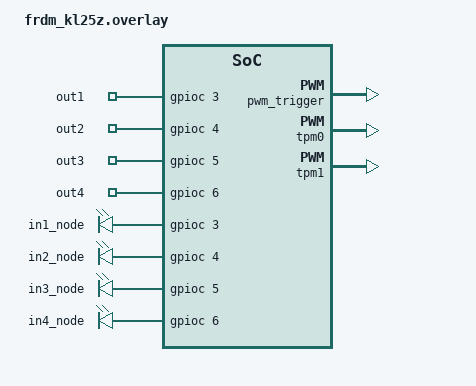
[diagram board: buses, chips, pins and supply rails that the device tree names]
#include <zephyr/dt-bindings/gpio/gpio.h>
#include <zephyr/dt-bindings/pwm/pwm.h>
#include <zephyr/dt-bindings/clock/kinetis_sim.h>
#include <nxp/kinetis/MKL25Z128VLK4-pinctrl.h>

/ {
    /* Aliases globais do projeto */
    aliases {
        pwm-trigger = &pwm_trigger;
        tpm1 = &tpm1;
        out1 = &out1;
        out2 = &out2;
        out3 = &out3;
        out4 = &out4;
    };


    pins_control {
        compatible = "gpio-keys ";

        out1: pin_out_1 {
            gpios = <&gpioc 3 GPIO_ACTIVE_HIGH>;
                status = "okay";
        
        };
        out2: pin_out_2 {
            gpios = <&gpioc 4 GPIO_ACTIVE_HIGH>;
            
        };
        out3: pin_out_3 {
            gpios = <&gpioc 5 GPIO_ACTIVE_HIGH>;
            
        };
        out4: pin_out_4 {
            gpios = <&gpioc 6 GPIO_ACTIVE_HIGH>;
                status = "okay";
            
        };

        
    };

    /* Dispositivo PWM Customizado */
    pwmtriggers {
        compatible = "simple-bus";

        pwm_trigger: pwm_trigger {
            compatible = "my,pwm-trigger";
            pwms = <&tpm0 0 PWM_MSEC(60) PWM_POLARITY_NORMAL>;
        };
    };
};

/* Habilita as portas GPIO que estão sendo utilizadas */
&gpioa { status = "okay"; };
&gpioc { status = "okay"; };
&gpioe { status = "okay"; };

/* Configuração de Pinctrl */
&pinctrl {
    tpm0_default: tpm0_default {
        group0 {
            pinmux = <TPM0_CH0_PTD0>;
            drive-strength = "low";
            slew-rate = "slow";
        };
    };

    tpm1_default: tpm1_default {
        group0 {
            pinmux = <TPM1_CH0_PTE20>;
            drive-strength = "low";
            slew-rate = "slow";
        };
    };
};

/* Configuração dos periféricos TPM (PWM) estendidos */
&tpm0 {
    compatible = "nxp,kinetis-tpm";
    reg = <0x40038000 0x1000>;
    interrupts = <17 0>;
    prescaler = <64>;
    clocks = <&sim KINETIS_SIM_BUS_CLK 0x103C 24>;
    pinctrl-0 = <&tpm0_default>;
    pinctrl-names = "default";
    #pwm-cells = <3>;
    status = "okay";
};

&tpm1 {
    compatible = "nxp,kinetis-tpm";
    reg = <0x40039000 0x1000>;
    interrupts = <18 1>;
    prescaler = <8>;
    clocks = <&sim KINETIS_SIM_BUS_CLK 0x103C 25>;
    pinctrl-0 = <&tpm1_default>;
    pinctrl-names = "default";
    #pwm-cells = <3>;
    status = "okay";
};
/*Portas da ponte H */
/* Ativa explicitamente o controlador do PORTC */
&gpioc {
    status = "okay";
};

/ {
    aliases {
        in1 = &in1_node;
        in2 = &in2_node;
        in3 = &in3_node;
        in4 = &in4_node;
    };

    ponte_h_pins {
        compatible = "gpio-leds";
        
        in1_node: in1 {
            gpios = <&gpioc 3 GPIO_ACTIVE_HIGH>; /* PTC3 (Pino D0 da placa) */
        };
        in2_node: in2 {
            gpios = <&gpioc 4 GPIO_ACTIVE_HIGH>; /* PTC4 (Pino D1 da placa) */
        };
        in3_node: in3 {
            gpios = <&gpioc 5 GPIO_ACTIVE_HIGH>; /* PTC5 (Pino D2 da placa) */
        };
        in4_node: in4 {
            gpios = <&gpioc 6 GPIO_ACTIVE_HIGH>; /* PTC6 (Pino D3 da placa) */
        };
    };
};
